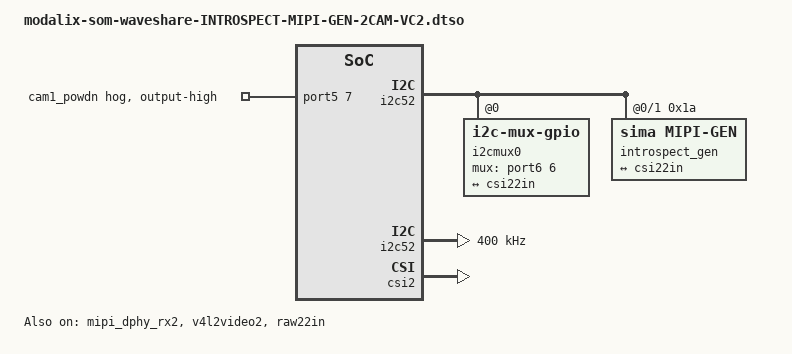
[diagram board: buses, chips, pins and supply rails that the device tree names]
// SPDX-License-Identifier: (GPL-2.0+ OR MIT)
/*
 * Copyright (c) 2026 SiMa ai
 *
 * cam1 overlay for the Introspect Technology SV3C-DPTX MIPI generator -
 * VC2 test variant.
 *
 * Built by direct analogy with the confirmed VC0 and VC1 overlays. NOT yet
 * hardware-tested - this is the "just change the dtso" claim from the VC2
 * discussion, actually written out so it can be verified rather than taken
 * on faith.
 *
 * Identical to modalix-som-waveshare-INTROSPECT-MIPI-GEN-2CAM.dtso except:
 *   - the generator's single physical link is repointed from csi20in (VC0)
 *     to csi22in (VC2) - port@4/reg=4 in the base dtsi, per the confirmed
 *     sink = 2 x VC pad-numbering convention.
 *   - sima,virtual-channel = <2> is set on the generator's endpoint, so
 *     introspect_mipi_generator.c's .get_frame_desc reports VC2 instead of
 *     the VC0 default - this MUST match whatever Pinetree's
 *     csiImagePattern.virtualChannel is actually set to for this run.
 *   - v4l2video2's VC2 capture node (raw22in) is enabled - confirmed
 *     directly against modalix-mipi.dtsi (label "raw-capture.2.2").
 *
 * Depends on the same two driver-side fixes as the VC1 overlay:
 *   - dwc-mipi-csi2.c's async-registration-loop fix (loops over all 4 VC
 *     sink ports instead of only port 0).
 *   - introspect_mipi_generator.c's sima,virtual-channel property support.
 * Both are written generically (any VC 0-3), so no further driver changes
 * are expected - this overlay is the actual test of that claim.
 *
 * Generator-side config this overlay must match (Introspect Pinetree,
 * SV3C_4L6G_MIPI_DPHY_GENERATOR) - same as VC0/VC1, except virtualChannel:
 *   - dataLanes        = [1, 2]        -> data-lanes = <1 2> below
 *   - continuousClock  = True          -> clock-continuous; below
 *   - mipiClockConfig2.dataRate = 900.0 (Mbps/lane) -> link-frequencies
 *     = 450000000 below
 *   - virtualChannel   = 2             -> VC2 (set csiImagePattern.
 *     virtualChannel = 2 in Pinetree)
 *   - imageFormat      = CSI_RAW8 or CSI_RAW12, rawFormatBayerCell = RGGB
 *
 * Known caveat carried over from the VC1 work, unfixed and untested for
 * VC2 specifically: the mask = 0xf hardcoding in dwc-mipi-csi2.c (5
 * functions unconditionally touch all 4 IPIs regardless of which VC is
 * requested). Should not matter for a single-VC-at-a-time test (fresh
 * boot, only VC2 active) but is not proven safe for concurrent multi-VC
 * use.
 */

/dts-v1/;
/plugin/;

&{/} {
	xclk20: xclk20 {
		status = "okay";
		compatible = "fixed-clock";
		#clock-cells = <0>;
		clock-frequency = <24000000>;
	};

	i2cmux0: i2cmux@0 {
		compatible = "i2c-mux-gpio";
		i2c-parent = <&i2c52>;
		#address-cells = <1>;
		#size-cells = <0>;
		/* Set port6 gpio6 to GPIO_ACTIVE_LOW mode */
		mux-gpios = <&port6 6 0>;
		i2cmux0p1: i2c@1 {
		    reg = <1>;
		    #address-cells = <1>;
		    #size-cells = <0>;
		};
	};
};

&port5 {
	cam-hog1 {
		gpio-hog;
		/* Set port5 gpio7 to GPIO_ACTIVE_HIGH mode */
		gpios = <7 0>;
		output-high;
		line-name = "cam1_powdn";
	};
};

&i2c52 {
    status = "okay";
    clock-frequency = <400000>;
    #address-cells = <1>;
    #size-cells = <0>;
};

&csi2 {
    status = "okay";
};

&axi_vdma2 {
    status = "okay";
};

&mipi_dphy_rx2 {
    status = "okay";
};

&v4l2video2 {
    status = "okay";
};

&v4l2vdma2 {
    status = "okay";
};

/* VC2's video capture node (disabled by default in the base dtsi) */
&raw22in {
    status = "okay";
};

/* Generator now wired to VC2's sink pad, not VC0's csi20in. */
&csi22in {
    clock-lanes = <0>;
    data-lanes = <1 2>;
    link-frequencies = /bits/ 64 <450000000>;
    remote-endpoint = <&cam22out>;
    clock-continuous;
};

&i2cmux0p1 {
	introspect_gen: introspect_gen@1a {
		/*
		 * compatible = "sima,mipi-gen" - see the VC0 overlay's
		 * identity-decision comment for the full reasoning; unchanged
		 * here.
		 */
		compatible = "sima,mipi-gen";
		reg = <0x1a>;

		clocks = <&xclk20>;
		clock-names = "xclk";

		port@1 {
			cam22out: endpoint@0 {
				clock-lanes = <0>;
				data-lanes = <1 2>;
				link-frequencies = /bits/ 64 <450000000>;
				remote-endpoint = <&csi22in>;
				clock-continuous;
				/*
				 * Must match Pinetree's
				 * csiImagePattern.virtualChannel for this
				 * run. Read by introspect_mipi_generator.c's
				 * check_hwcfg(); defaults to 0 if omitted.
				 */
				sima,virtual-channel = <2>;
			};
		};
	};
};
